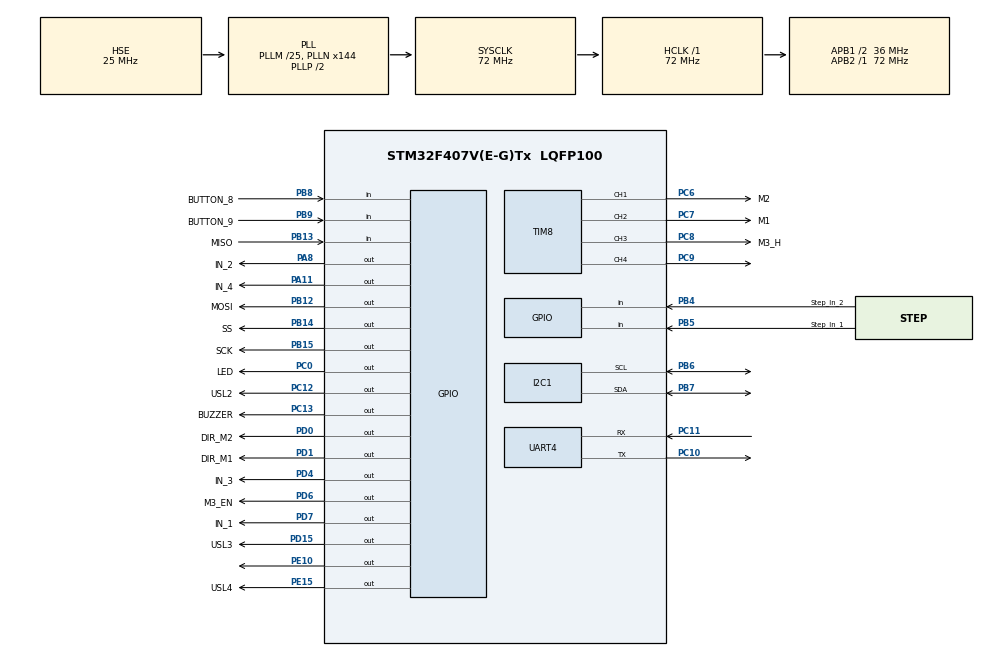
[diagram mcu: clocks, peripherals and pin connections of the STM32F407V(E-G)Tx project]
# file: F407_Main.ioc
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Mcu.Family=STM32F4
Mcu.Name=STM32F407V(E-G)Tx
Mcu.Package=LQFP100
NVIC.FPU_IRQn=true\:0\:0\:false\:false\:true\:true\:false\:true
NVIC.I2C1_ER_IRQn=true\:0\:0\:false\:false\:true\:true\:true\:true
NVIC.I2C1_EV_IRQn=true\:0\:0\:false\:false\:true\:true\:true\:true
NVIC.PriorityGroup=NVIC_PRIORITYGROUP_3
NVIC.RCC_IRQn=true\:1\:0\:true\:false\:true\:true\:false\:true
NVIC.TIM2_IRQn=true\:0\:0\:false\:false\:true\:true\:true\:true
NVIC.TIM8_BRK_TIM12_IRQn=true\:0\:0\:false\:false\:true\:true\:true\:true
NVIC.TIM8_CC_IRQn=true\:0\:0\:true\:false\:true\:true\:true\:true
NVIC.TIM8_UP_TIM13_IRQn=true\:0\:0\:true\:false\:true\:true\:true\:true
NVIC.UART4_IRQn=true\:1\:0\:true\:false\:true\:true\:true\:true
PA11.GPIO_Label=IN_4
PA11.GPIO_Speed=GPIO_SPEED_FREQ_HIGH
PA11.PinState=GPIO_PIN_SET
PA11.Signal=GPIO_Output
PA13.Mode=Serial_Wire
PA13.Signal=SYS_JTMS-SWDIO
PA14.Mode=Serial_Wire
PA14.Signal=SYS_JTCK-SWCLK
PA8.GPIO_Label=IN_2
PA8.GPIO_Speed=GPIO_SPEED_FREQ_HIGH
PA8.PinState=GPIO_PIN_SET
PA8.Signal=GPIO_Output
PB12.GPIO_Label=MOSI
PB12.GPIO_Speed=GPIO_SPEED_FREQ_VERY_HIGH
PB12.PinState=GPIO_PIN_SET
PB12.Signal=GPIO_Output
PB13.GPIO_Label=MISO
PB13.Signal=GPIO_Input
PB14.GPIO_Label=SS
PB14.GPIO_Speed=GPIO_SPEED_FREQ_VERY_HIGH
PB14.PinState=GPIO_PIN_SET
PB14.Signal=GPIO_Output
PB15.GPIO_Label=SCK
PB15.GPIO_Speed=GPIO_SPEED_FREQ_VERY_HIGH
PB15.PinState=GPIO_PIN_SET
PB15.Signal=GPIO_Output
PB4.GPIO_Label=Step_In_2
PB4.GPIO_PuPd=GPIO_PULLUP
PB4.Signal=GPIO_Input
PB5.GPIO_Label=Step_In_1
PB5.GPIO_PuPd=GPIO_PULLUP
PB5.Signal=GPIO_Input
PB6.GPIO_Pu=GPIO_NOPULL
PB6.Mode=I2C
PB6.Signal=I2C1_SCL
PB7.GPIO_Pu=GPIO_NOPULL
PB7.Mode=I2C
PB7.Signal=I2C1_SDA
PB8.GPIO_Label=BUTTON_8
PB8.Signal=GPIO_Input
PB9.GPIO_Label=BUTTON_9
PB9.Signal=GPIO_Input
PC0.GPIO_Label=LED
PC0.GPIO_ModeDefaultOutputPP=GPIO_MODE_OUTPUT_OD
PC0.GPIO_PuPd=GPIO_NOPULL
PC0.GPIO_Speed=GPIO_SPEED_FREQ_VERY_HIGH
PC0.PinState=GPIO_PIN_SET
PC0.Signal=GPIO_Output
PC10.Mode=Asynchronous
PC10.Signal=UART4_TX
PC11.Mode=Asynchronous
PC11.Signal=UART4_RX
PC12.GPIO_Label=USL2
PC12.PinState=GPIO_PIN_RESET
PC12.Signal=GPIO_Output
PC13-ANTI_TAMP.GPIO_Label=BUZZER
PC13-ANTI_TAMP.GPIO_ModeDefaultOutputPP=GPIO_MODE_OUTPUT_OD
PC13-ANTI_TAMP.GPIO_PuPd=GPIO_NOPULL
PC13-ANTI_TAMP.Signal=GPIO_Output
PC14-OSC32_IN.Mode=LSE-External-Oscillator
PC14-OSC32_IN.Signal=RCC_OSC32_IN
PC15-OSC32_OUT.Mode=LSE-External-Oscillator
PC15-OSC32_OUT.Signal=RCC_OSC32_OUT
PC6.GPIO_Label=M2
PC6.Signal=S_TIM8_CH1
PC7.GPIO_Label=M1
PC7.Signal=S_TIM8_CH2
PC8.GPIO_Label=M3_H
PC8.Signal=S_TIM8_CH3
PC9.Signal=S_TIM8_CH4
PD0.GPIO_Label=DIR_M2
PD0.Signal=GPIO_Output
PD1.GPIO_Label=DIR_M1
PD1.Signal=GPIO_Output
PD15.GPIO_Label=USL3
PD15.PinState=GPIO_PIN_RESET
PD15.Signal=GPIO_Output
PD4.GPIO_Label=IN_3
PD4.GPIO_Speed=GPIO_SPEED_FREQ_HIGH
PD4.PinState=GPIO_PIN_SET
PD4.Signal=GPIO_Output
PD6.GPIO_Label=M3_EN
PD6.GPIO_Speed=GPIO_SPEED_FREQ_MEDIUM
PD6.PinState=GPIO_PIN_SET
PD6.Signal=GPIO_Output
PD7.GPIO_Label=IN_1
PD7.GPIO_Speed=GPIO_SPEED_FREQ_HIGH
PD7.PinState=GPIO_PIN_SET
PD7.Signal=GPIO_Output
PE10.PinState=GPIO_PIN_RESET
PE10.Signal=GPIO_Output
PE15.GPIO_Label=USL4
PE15.PinState=GPIO_PIN_RESET
PE15.Signal=GPIO_Output
PH0-OSC_IN.Mode=HSE-External-Oscillator
PH0-OSC_IN.Signal=RCC_OSC_IN
PH1-OSC_OUT.Mode=HSE-External-Oscillator
PH1-OSC_OUT.Signal=RCC_OSC_OUT
ProjectManager.HeapSize=0x200
ProjectManager.StackSize=0x400
ProjectManager.TargetToolchain=Makefile
RCC.48MHZClocksFreq_Value=36000000
RCC.AHBFreq_Value=72000000
RCC.APB1CLKDivider=RCC_HCLK_DIV2
RCC.APB1Freq_Value=36000000
RCC.APB1TimFreq_Value=72000000
RCC.APB2Freq_Value=72000000
RCC.APB2TimFreq_Value=72000000
RCC.CortexFreq_Value=72000000
RCC.HCLKFreq_Value=72000000
RCC.HSE_VALUE=25000000
RCC.HSI_VALUE=16000000
RCC.PLLM=25
RCC.PLLN=144
RCC.PLLSourceVirtual=RCC_PLLSOURCE_HSE
RCC.SYSCLKFreq_VALUE=72000000
RCC.SYSCLKSource=RCC_SYSCLKSOURCE_PLLCLK
RCC.VCOOutputFreq_Value=144000000
SH.S_TIM8_CH1.0=TIM8_CH1,PWM Generation1 CH1
SH.S_TIM8_CH2.0=TIM8_CH2,PWM Generation2 CH2
SH.S_TIM8_CH3.0=TIM8_CH3,PWM Generation3 CH3
SH.S_TIM8_CH4.0=TIM8_CH4,PWM Generation4 CH4
TIM2.Period=65535
TIM2.Prescaler=72
TIM8.AutoReloadPreload=TIM_AUTORELOAD_PRELOAD_ENABLE
TIM8.Channel-PWM\ Generation1\ CH1=TIM_CHANNEL_1
TIM8.Channel-PWM\ Generation2\ CH2=TIM_CHANNEL_2
TIM8.Channel-PWM\ Generation3\ CH3=TIM_CHANNEL_3
TIM8.Channel-PWM\ Generation4\ CH4=TIM_CHANNEL_4
TIM8.OCMode_PWM-PWM\ Generation1\ CH1=TIM_OCMODE_PWM2
TIM8.OCMode_PWM-PWM\ Generation2\ CH2=TIM_OCMODE_PWM2
TIM8.OCMode_PWM-PWM\ Generation3\ CH3=TIM_OCMODE_PWM2
TIM8.OCMode_PWM-PWM\ Generation4\ CH4=TIM_OCMODE_PWM2
TIM8.OCPolarity_1=TIM_OCPOLARITY_HIGH
TIM8.OCPolarity_2=TIM_OCPOLARITY_HIGH
UART4.VirtualMode=Asynchronous
VP_TIM2_VS_ClockSourceINT.Mode=Internal
VP_TIM8_VS_ClockSourceINT.Mode=Internal
board=custom

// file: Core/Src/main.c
/* USER CODE BEGIN Header */
/**
 ******************************************************************************
 * @file           : main.c
 * @brief          : Main program body
 ******************************************************************************
 * @attention
 *
 * Copyright (c) 2023 STMicroelectronics.
 * All rights reserved.
 *
 * This software is licensed under terms that can be found in the LICENSE file
 * in the root directory of this software component.
 * If no LICENSE file comes with this software, it is provided AS-IS.
 *
 ******************************************************************************
 */
/* USER CODE END Header */
#include "main.h"
#include "i2c.h"
#include "tim.h"
#include "usart.h"
#include "gpio.h"

/* USER CODE BEGIN Includes */
#include "stdbool.h"
#include "pid.h"
#include "math.h"
#include "stdint.h"
#include "stdio.h"
#include "PS2.h"
#include "BUTTON.h"
#include "pca9685.h"

/* USER CODE END Includes */

/* USER CODE BEGIN PTD */
PID_TypeDef RPID;
HAL_StatusTypeDef status;
#define Get_Red_Delay 500
#define Get_Green_Delay 800
#define Get_Ball_Up 1
#define Get_Ball_Down 2
#define Get_Ball_Stop 0
// pca_servo_st sv;
/* USER CODE END PTD */

/* USER CODE BEGIN PV */

uint16_t PWM_Freq = 5000;
uint8_t i2c_arr[128];
uint8_t PCA_State = 0;

float Speed_Set = 40;

// variables for MPU data
uint8_t Buffer_Arr[7];
uint8_t Buffer;
bool check = 1;
float theta = 0;
float temp = 0;
uint8_t buff_index = 0;
uint8_t Reset_Angle_Byte[3] = {0xFF, 0xAA, 0x52};
uint8_t RST_ANGLE = 0;
uint8_t cw_flag = 0;
uint8_t ccw_flag = 0;
uint8_t tempspeed;

float Prev_Angle = 0;
float Angle_Raw = 0;
float Angle_Driff = 0;

uint8_t Re_Buff[11];
uint8_t Re_Buff_Index = 0;
uint8_t Re_Buff_Check = 0;

// variables for I2C
uint16_t SWERVE_DRIVE_1_ADDR = 0x08 << 1;
uint16_t SWERVE_DRIVE_2_ADDR = 0x14 << 1;
uint16_t Angle_2_Send = 0;
float temp_RX, temp_RY;
uint8_t init_check = 1;

// variables for PID
double Angle_Input, PIDOut, TempSetpoint;
uint32_t period = 0;
uint8_t Gygro_Move = 0;
// float Kp, Ki, Kd;
int8_t Out_Max, Out_Min;

// variables for joystick
float Speed = 0;
float Speed_L, Speed_R;
float gain = 0;
PS2Buttons PS2;
uint8_t Field_Control_Check = 0;
uint8_t Last_R1_Button_State = 0;
uint8_t R1_Button_State = 0;

uint8_t Rotate_90_Flag = 0;
uint8_t C_Button_Sate = 0;
uint8_t Last_C_Button_State = 0;

uint8_t Rotate_n90_Flag = 0;
uint8_t Sq_Button_Sate = 0;
uint8_t Last_Sq_Button_State = 0;

uint8_t Rotate_180_Flag = 0;
uint8_t X_Button_Sate = 0;
uint8_t Last_X_Button_State = 0;

uint8_t Get_Red_Flag = 0;
uint8_t Right_Button_State = 0;
uint8_t Last_Right_Button_State = 0;

uint8_t Get_Yellow_Flag = 0;
uint8_t Foward_Button_State = 0;
uint8_t Last_Foward_Button_State = 0;

uint8_t Get_Green_Flag = 0;
uint8_t Left_Button_State = 0;
uint8_t Last_Left_Button_State = 0;

uint8_t Get_Gift_Flag = 0;
uint8_t Select_Button_State = 0;
uint8_t Last_Select_Button_State = 0;

uint8_t Servo_Arm_P1 = 0;
uint8_t Servo_Arm_P2 = 0;
uint8_t L1_Button_State = 0;
uint8_t Last_L1_Button_State = 0;

uint8_t Up_Button_State = 0;
uint8_t Last_Up_Button_State = 0;

uint8_t Down_Button_State = 0;
uint8_t Last_Down_Button_State = 0;

uint8_t Vibration_Deg = 10;

uint8_t One_Time_Flag = 1;
/* USER CODE END PV */

void SystemClock_Config(void);

/* USER CODE BEGIN 0 */

float map(float x, float in_min, float in_max, float out_min, float out_max)
{
  return (float)((x - in_min) * (out_max - out_min) / (in_max - in_min) + out_min);
}

void Div16_To_8(int16_t data, uint8_t *data_array)
{
  *(data_array + 1) = (uint8_t)((data & 0xFF00) >> 8);
  *(data_array + 2) = (uint8_t)(data & 0x00FF);
}

void Buzzer_Beep(uint8_t times, uint8_t duration)
{
  for (uint8_t i = 0; i < times; i++)
  {
    HAL_GPIO_WritePin(BUZZER_GPIO_Port, BUZZER_Pin, GPIO_PIN_RESET);
    HAL_Delay(duration);
    HAL_GPIO_WritePin(BUZZER_GPIO_Port, BUZZER_Pin, GPIO_PIN_SET);
    HAL_Delay(duration);
  }
}

void MPU_Data_Merge()
{
  Prev_Angle = Angle_Raw;
  Angle_Raw = (float)((Re_Buff[7] << 8 | Re_Buff[6]) / 32768.0 * 180);
  if (Angle_Raw - Prev_Angle > 250)
  {
    Angle_Driff += 360;
  }
  else if (Angle_Raw - Prev_Angle < -250)
  {
    Angle_Driff -= 360;
  }
  theta = Angle_Raw - Angle_Driff;
}

// 0 to disable PWM
void Motor_PWM(uint8_t channel, uint8_t duty)
{
  period = (SystemCoreClock / 10000) - 1;
  htim8.Instance->ARR = period;

  switch (channel)
  {
  case 1:
    HAL_TIM_PWM_Start(&htim8, TIM_CHANNEL_1);
    htim8.Instance->CCR1 = (period * duty) / 100;
    break;
  case 2:
    HAL_TIM_PWM_Start(&htim8, TIM_CHANNEL_2);
    htim8.Instance->CCR2 = (period * duty) / 100;
    break;
  case 3:
    HAL_TIM_PWM_Start(&htim8, TIM_CHANNEL_3);
    htim8.Instance->CCR3 = (period * duty) / 100;
    break;
  case 4:
    HAL_TIM_PWM_Start(&htim8, TIM_CHANNEL_4);
    htim8.Instance->CCR4 = (period * duty) / 100;
    break;
  case 0:
    htim8.Instance->CCR1 = 0;
    htim8.Instance->CCR2 = 0;
    htim8.Instance->CCR3 = 0;
    break;
  }
}

void HAL_UART_RxCpltCallback(UART_HandleTypeDef *huart)
{
  UNUSED(huart);
  if (huart->Instance == UART4)
  {
    Re_Buff[Re_Buff_Index] = Buffer;
    if (Re_Buff_Index == 0 && Re_Buff[0] != 0x55)
    {
      HAL_UART_Receive_IT(&huart4, &Buffer, 1);
    }
    else
    {
      Re_Buff_Index++;
    }

    if (Re_Buff_Index == 11)
    {
      if (Re_Buff[1] == 0x53)
      {
        MPU_Data_Merge();
      }
      Re_Buff_Index = 0;
    }
    HAL_UART_Receive_IT(&huart4, &Buffer, 1);
  }
}

void Swerve_Module_Send(int16_t U12_Input, uint8_t module)
{
  uint8_t I2C_Tx_Buffer[] = {0x05, 0x00, 0x00};
  Div16_To_8(U12_Input, I2C_Tx_Buffer);
  switch (module)
  {
  case 1:
    HAL_I2C_Master_Transmit(&hi2c1, 0x01 << 1, I2C_Tx_Buffer, 3, 15);
    break;
  case 2:
    HAL_I2C_Master_Transmit(&hi2c1, 0x02 << 1, I2C_Tx_Buffer, 3, 15);
    break;
  case 0:
    HAL_I2C_Master_Transmit(&hi2c1, 0x01 << 1, I2C_Tx_Buffer, 2, 15);
    HAL_I2C_Master_Transmit(&hi2c1, 0x02 << 1, I2C_Tx_Buffer, 2, 15);
    break;
  default:
    break;
  }
}

void PID_Set(float Kp, float Ki, float Kd)
{
  PID(&RPID, &Angle_Input, &PIDOut, &TempSetpoint, Kp, Ki, Kd, _PID_P_ON_E, _PID_CD_DIRECT);
  PID_SetMode(&RPID, _PID_MODE_AUTOMATIC);
  PID_SetSampleTime(&RPID, 1);
  PID_SetOutputLimits(&RPID, -40, 40);
}

void Get_Ball(int state)
{
  switch (state)
  {
  case 2:
    HAL_GPIO_WritePin(M3_EN_GPIO_Port, M3_EN_Pin, 1);
    Motor_PWM(3, 70);
    Motor_PWM(4, 100);
    break;
  case 1:
    HAL_GPIO_WritePin(M3_EN_GPIO_Port, M3_EN_Pin, 1);
    Motor_PWM(3, 100);
    Motor_PWM(4, 70);
    break;
  case 0:
    Motor_PWM(3, 100);
    Motor_PWM(4, 100);
    HAL_GPIO_WritePin(M3_EN_GPIO_Port, M3_EN_Pin, 0);
    break;
  }
}
/* USER CODE END 0 */

int main(void)
{
  /* USER CODE END 1 */

  /* MCU Configuration--------------------------------------------------------*/

  /* Reset
  of all peripherals, Initializes the Flash interface and the Systick. */
  HAL_Init();

  /* Configure the system clock */
  SystemClock_Config();

  /* Initialize all configured peripherals */
  MX_GPIO_Init();
  MX_TIM8_Init();
  MX_UART4_Init();
  MX_I2C1_Init();
  MX_TIM2_Init();
  /* USER CODE BEGIN 2 */

  PCA9685_Init(&hi2c1);
  HAL_GPIO_WritePin(BUZZER_GPIO_Port, BUZZER_Pin, GPIO_PIN_SET);
  PS2_Init(&htim2, &PS2);

  // function to scan i2c address

  for (uint8_t i = 0; i < 128; i++)
  {
    if (HAL_I2C_IsDeviceReady(&hi2c1, (uint16_t)(i << 1), 3, 100) == HAL_OK)
    {
      i2c_arr[i] = 1;
    }
    else
    {
      i2c_arr[i] = 0;
    }
  }

  PID_Set(1.5, 0.8, 0.005);
  Angle_Input = 0;
  HAL_UART_Receive_IT(&huart4, &Buffer, 1);

  for (uint8_t i = 0; i < 5; i++)
  {
    Swerve_Module_Send(0, 0);
    HAL_Delay(10);
  }

  if (status == HAL_OK)
  {
    PCA_State = 1;
  }
  else
  {
    PCA_State = 0;
  }

  MX_TIM8_Init();
  while (init_check)
  {
    uint8_t Status_B9 = 0;
    uint8_t Status_B8 = 0;
    PS2_Update();
    Swerve_Module_Send(180, 0);
    HAL_GPIO_TogglePin(USL3_GPIO_Port, USL3_Pin);
    HAL_GPIO_TogglePin(BUZZER_GPIO_Port, BUZZER_Pin);
    HAL_Delay(500);
    Status_B9 = HAL_GPIO_ReadPin(BUTTON_9_GPIO_Port, BUTTON_9_Pin);
    Status_B8 = HAL_GPIO_ReadPin(BUTTON_8_GPIO_Port, BUTTON_8_Pin);
    while (Status_B9 == 0)
    {
      HAL_GPIO_WritePin(USL4_GPIO_Port, USL4_Pin, 1);
      Buzzer_Beep(3, 500);
      HAL_Delay(500);
      HAL_GPIO_WritePin(BUZZER_GPIO_Port, BUZZER_Pin, 1);
      for (int16_t i = 0; i >= 180; i++)
      {
        Swerve_Module_Send(i, 1);
        Swerve_Module_Send(-i, 2);
        HAL_Delay(8);
      }
      HAL_Delay(10);
      for (int16_t i = 180; i >= 0; i--)
      {
        Swerve_Module_Send(i, 1);
        Swerve_Module_Send(-i, 2);
        HAL_Delay(8);
      }
      Swerve_Module_Send(0, 0);
      HAL_Delay(10);
      for (int16_t i = 0; i >= 180; i++)
      {
        Swerve_Module_Send(i, 2);
        Swerve_Module_Send(-i, 1);
        HAL_Delay(8);
      }
      HAL_Delay(10);
      for (int16_t i = 180; i >= 0; i--)
      {
        Swerve_Module_Send(i, 2);
        Swerve_Module_Send(-i, 1);
        HAL_Delay(8);
      }
      Swerve_Module_Send(0, 0);
      Buzzer_Beep(2, 50);

      Motor_PWM(1, 15);
      Motor_PWM(2, 15);
      HAL_GPIO_WritePin(DIR_M1_GPIO_Port, DIR_M1_Pin, 1);
      HAL_GPIO_WritePin(DIR_M2_GPIO_Port, DIR_M2_Pin, 1);
      HAL_Delay(1000);
      HAL_GPIO_WritePin(DIR_M1_GPIO_Port, DIR_M1_Pin, 0);
      HAL_GPIO_WritePin(DIR_M2_GPIO_Port, DIR_M2_Pin, 0);
      HAL_Delay(1000);
      Buzzer_Beep(2, 100);
      Motor_PWM(1, 0);
      Motor_PWM(2, 0);
      Swerve_Module_Send(90, 1);
      Swerve_Module_Send(90, 2);
      HAL_Delay(1000);
      Motor_PWM(1, 15);
      Motor_PWM(2, 15);
      HAL_GPIO_WritePin(DIR_M1_GPIO_Port, DIR_M1_Pin, 1);
      HAL_GPIO_WritePin(DIR_M2_GPIO_Port, DIR_M2_Pin, 1);
      HAL_Delay(1000);
      HAL_GPIO_WritePin(DIR_M1_GPIO_Port, DIR_M1_Pin, 0);
      HAL_GPIO_WritePin(DIR_M2_GPIO_Port, DIR_M2_Pin, 0);
      HAL_Delay(1000);
      Motor_PWM(1, 0);
      Motor_PWM(2, 0);

      HAL_Delay(600);
      PCA9685_SetServoAngle(8, 115);
      PCA9685_SetServoAngle(9, 19);
      HAL_Delay(1500);
      PCA9685_SetServoAngle(8, 0);
      PCA9685_SetServoAngle(9, 150);
      PCA9685_SetServoAngle(10, 50);
      HAL_Delay(1000);
      PCA9685_SetServoAngle(10, 0);

      HAL_GPIO_WritePin(USL4_GPIO_Port, USL4_Pin, 0);
      Swerve_Module_Send(0, 2);
      Swerve_Module_Send(0, 1);
      Buzzer_Beep(5, 50);
      Status_B9 = 1;
    }

    if (Status_B8 == 0)
    {
      Speed_Set = 50;
      for (uint8_t i = 0; i < 6; i++)
      {
        HAL_GPIO_TogglePin(USL4_GPIO_Port, USL4_Pin);
        HAL_GPIO_TogglePin(BUZZER_GPIO_Port, BUZZER_Pin);
        HAL_Delay(300);
      }
      HAL_GPIO_WritePin(USL4_GPIO_Port, USL4_Pin, 1);
      HAL_GPIO_WritePin(BUZZER_GPIO_Port, BUZZER_Pin, 1);
    }

    if (PS2.L2)
    {
      init_check = 0;
      HAL_GPIO_WritePin(USL3_GPIO_Port, USL3_Pin, 0);
      HAL_UART_Transmit(&huart4, Reset_Angle_Byte, sizeof(Reset_Angle_Byte), 10);
      Buzzer_Beep(1, 100);
      break;
    }
    else
    {
      init_check = 1;
    }
  }
  Buzzer_Beep(2, 100);

  /* USER CODE END 2 */

  /* Infinite loop */
  /* USER CODE BEGIN WHILE */
  while (1)
  {
    PS2_Update();
    temp_RX = map(PS2.RX, 0, 255, -100, 100);
    Speed = map(PS2.LY, 0, 255, -Speed_Set, Speed_Set);

    L1_Button_State = PS2.L1;
    if (L1_Button_State != Last_L1_Button_State)
    {
      Last_L1_Button_State = L1_Button_State;
      if (L1_Button_State == 0)
      {
        Servo_Arm_P1 = (Servo_Arm_P1 == 1) ? 0 : 1;
      }
    }

    Up_Button_State = PS2.UP;
    if (Up_Button_State != Last_Up_Button_State)
    {
      Last_Up_Button_State = Up_Button_State;
      if (Up_Button_State == 0)
      {
        Servo_Arm_P2 = (Servo_Arm_P2 == 1) ? 0 : 1;
      }
    }

    R1_Button_State = PS2.R1;
    if (R1_Button_State != Last_R1_Button_State)
    {
      Last_R1_Button_State = R1_Button_State;
      if (R1_Button_State == 0)
      {
        Field_Control_Check = (Field_Control_Check == 1) ? 0 : 1;
      }
    }

    C_Button_Sate = PS2.CIRCLE;
    if (C_Button_Sate != Last_C_Button_State)
    {
      Last_C_Button_State = C_Button_Sate;
      if (C_Button_Sate == 0)
      {
        Rotate_90_Flag = (Rotate_90_Flag == 1) ? 0 : 1;
      }
    }

    Sq_Button_Sate = PS2.SQUARE;
    if (Sq_Button_Sate != Last_Sq_Button_State)
    {
      Last_Sq_Button_State = Sq_Button_Sate;
      if (Sq_Button_Sate == 0)
      {
        Rotate_n90_Flag = (Rotate_n90_Flag == 1) ? 0 : 1;
      }
    }

    X_Button_Sate = PS2.CROSS;
    if (X_Button_Sate != Last_X_Button_State)
    {
      Last_X_Button_State = X_Button_Sate;
      if (X_Button_Sate == 0)
      {
        Rotate_180_Flag = (Rotate_180_Flag == 1) ? 0 : 1;
      }
    }

    Right_Button_State = PS2.RIGHT;
    if (Right_Button_State != Last_Right_Button_State)
    {
      Last_Right_Button_State = Right_Button_State;
      if (Right_Button_State == 0)
      {
        Get_Red_Flag = (Get_Red_Flag == 1) ? 0 : 1;
      }
    }

    Foward_Button_State = PS2.UP;
    if (Foward_Button_State != Last_Foward_Button_State)
    {
      Last_Foward_Button_State = Foward_Button_State;
      if (Foward_Button_State == 0)
      {
        Get_Yellow_Flag = (Get_Yellow_Flag == 1) ? 0 : 1;
      }
    }

    Left_Button_State = PS2.LEFT;
    if (Left_Button_State != Last_Left_Button_State)
    {
      Last_Left_Button_State = Left_Button_State;
      if (Left_Button_State == 0)
      {
        Get_Green_Flag = (Get_Green_Flag == 1) ? 0 : 1;
      }
    }

    Select_Button_State = PS2.TRIANGLE;
    if (Select_Button_State != Last_Select_Button_State)
    {
      Last_Select_Button_State = Select_Button_State;
      if (Select_Button_State == 0)
      {
        Get_Gift_Flag = (Get_Gift_Flag == 1) ? 0 : 1;
      }
    }

    if (Servo_Arm_P1 || Servo_Arm_P2)
    {
      if (Servo_Arm_P1)
      {
        if (PS2.L2)
        {
          PCA9685_SetServoAngle(13, Vibration_Deg);
          PCA9685_SetServoAngle(11, 0);
          PCA9685_SetServoAngle(12, 180);
          if (Vibration_Deg == 10)
          {
            Vibration_Deg = 30;
          } else if (Vibration_Deg == 30)
          {
            Vibration_Deg = 10;
          }
        }
        else
        {
          PCA9685_SetServoAngle(13, 50);
          PCA9685_SetServoAngle(11, 30);
          PCA9685_SetServoAngle(12, 150);
        }
      }
      else
      {
        PCA9685_SetServoAngle(13, 135);
        PCA9685_SetServoAngle(11, 10);
        PCA9685_SetServoAngle(12, 170);
      }
    }
    else
    {
      PCA9685_SetServoAngle(13, 40);
      PCA9685_SetServoAngle(11, 110);
      PCA9685_SetServoAngle(12, 70);
    }

    // if (PS2.TRIANGLE)
    // {
    //   HAL_UART_Transmit(&huart4, Reset_Angle_Byte, sizeof(Reset_Angle_Byte), 10);
    //   Prev_Angle = 0;
    //   Angle_Raw = 0;
    //   Angle_Driff = 0;
    //   theta = 0;
    //   Buzzer_Beep(1, 100);
    //   MX_TIM8_Init();
    // }

    if (Get_Gift_Flag)
    {
      PCA9685_SetServoAngle(8, 118);
      PCA9685_SetServoAngle(9, 25);
      PCA9685_SetServoAngle(10, 150);
    }
    else
    {
      PCA9685_SetServoAngle(8, 0);
      PCA9685_SetServoAngle(9, 155);
      PCA9685_SetServoAngle(10, 0);
    }

    // if (Get_Red_Flag)
    // {
    //   Buzzer_Beep(2, 80);
    //   Swerve_Module_Send(90, 1);
    //   Swerve_Module_Send(90, 2);
    //   HAL_GPIO_WritePin(DIR_M1_GPIO_Port, DIR_M1_Pin, 0);
    //   HAL_GPIO_WritePin(DIR_M2_GPIO_Port, DIR_M2_Pin, 0);
    //   for (uint8_t i = 0; i < 50; i++)
    //   {
    //     Motor_PWM(1, i);
    //     Motor_PWM(2, i);
    //     HAL_Delay(10);
    //   }
    //   Motor_PWM(1, 50);
    //   Motor_PWM(2, 50);
    //   HAL_Delay(Get_Red_Delay);
    //   for (uint8_t i = 50; i > 0; i--)
    //   {
    //     Motor_PWM(1, i);
    //     Motor_PWM(2, i);
    //     HAL_Delay(10);
    //   }
    //   Motor_PWM(1, 0);
    //   Motor_PWM(2, 0);
    //   Buzzer_Beep(3, 40);
    //   Get_Red_Flag = 0;
    //   Field_Control_Check = 1;
    // }

    // if (Get_Green_Flag)
    // {
    //   Buzzer_Beep(3, 60);
    //   Swerve_Module_Send(70, 1);
    //   Swerve_Module_Send(70, 2);
    //   HAL_GPIO_WritePin(DIR_M1_GPIO_Port, DIR_M1_Pin, 0);
    //   HAL_GPIO_WritePin(DIR_M2_GPIO_Port, DIR_M2_Pin, 0);
    //   for (uint8_t i = 0; i < 50; i++)
    //   {
    //     Motor_PWM(1, i);
    //     Motor_PWM(2, i);
    //     HAL_Delay(10);
    //   }
    //   Motor_PWM(1, 50);
    //   Motor_PWM(2, 50);
    //   HAL_Delay(Get_Green_Delay);
    //   for (uint8_t i = 50; i > 0; i--)
    //   {
    //     Motor_PWM(1, i);
    //     Motor_PWM(2, i);
    //     HAL_Delay(10);
    //   }
    //   Motor_PWM(1, 0);
    //   Motor_PWM(2, 0);
    //   Buzzer_Beep(3, 40);
    //   Get_Green_Flag = 0;
    //   Field_Control_Check = 1;
    // }

    while (Rotate_90_Flag)
    {
      Swerve_Module_Send(90, 1);
      Swerve_Module_Send(-90, 2);
      while (One_Time_Flag)
      {
        HAL_UART_Transmit(&huart4, Reset_Angle_Byte, sizeof(Reset_Angle_Byte), 10);
        HAL_UART_Transmit(&huart4, Reset_Angle_Byte, sizeof(Reset_Angle_Byte), 10);
        Prev_Angle = 0;
        Angle_Raw = 0;
        Angle_Driff = 0;
        theta = 0;
        TempSetpoint = -80;
        MX_TIM8_Init();
        One_Time_Flag = 0;
      }
      Angle_Input = (double)theta;
      PID_Compute(&RPID);
      if (PIDOut > 0)
      {
        HAL_GPIO_WritePin(DIR_M1_GPIO_Port, DIR_M1_Pin, 0);
        HAL_GPIO_WritePin(DIR_M2_GPIO_Port, DIR_M2_Pin, 0);
      }
      else
      {
        HAL_GPIO_WritePin(DIR_M1_GPIO_Port, DIR_M1_Pin, 1);
        HAL_GPIO_WritePin(DIR_M2_GPIO_Port, DIR_M2_Pin, 1);
        PIDOut = -PIDOut;
      }
      Motor_PWM(1, (uint8_t)(PIDOut));
      Motor_PWM(2, (uint8_t)(PIDOut));
      if (fabs(TempSetpoint - theta) < 1)
      {
        Prev_Angle = 0;
        Angle_Raw = 0;
        Angle_Driff = 0;
        theta = 0;
        HAL_UART_Transmit(&huart4, Reset_Angle_Byte, sizeof(Reset_Angle_Byte), 10);
        HAL_UART_Transmit(&huart4, Reset_Angle_Byte, sizeof(Reset_Angle_Byte), 10);
        MX_TIM8_Init();
        Motor_PWM(1, 0);
        Motor_PWM(2, 0);
        Rotate_90_Flag = 0;
        break;
      }
    }

    while (Rotate_n90_Flag)
    {
      Swerve_Module_Send(90, 1);
      Swerve_Module_Send(-90, 2);
      while (One_Time_Flag)
      {
        HAL_UART_Transmit(&huart4, Reset_Angle_Byte, sizeof(Reset_Angle_Byte), 10);
        HAL_UART_Transmit(&huart4, Reset_Angle_Byte, sizeof(Reset_Angle_Byte), 10);
        Prev_Angle = 0;
        Angle_Raw = 0;
        Angle_Driff = 0;
        theta = 0;
        TempSetpoint = 80;
        MX_TIM8_Init();
        One_Time_Flag = 0;
      }
      Angle_Input = (double)theta;
      PID_Compute(&RPID);
      if (PIDOut > 0)
      {
        HAL_GPIO_WritePin(DIR_M1_GPIO_Port, DIR_M1_Pin, 0);
        HAL_GPIO_WritePin(DIR_M2_GPIO_Port, DIR_M2_Pin, 0);
      }
      else
      {
        HAL_GPIO_WritePin(DIR_M1_GPIO_Port, DIR_M1_Pin, 1);
        HAL_GPIO_WritePin(DIR_M2_GPIO_Port, DIR_M2_Pin, 1);
        PIDOut = -PIDOut;
      }
      Motor_PWM(1, (uint8_t)(PIDOut));
      Motor_PWM(2, (uint8_t)(PIDOut));
      if (fabs(TempSetpoint - theta) < 1)
      {
        Prev_Angle = 0;
        Angle_Raw = 0;
        Angle_Driff = 0;
        theta = 0;
        HAL_UART_Transmit(&huart4, Reset_Angle_Byte, sizeof(Reset_Angle_Byte), 10);
        HAL_UART_Transmit(&huart4, Reset_Angle_Byte, sizeof(Reset_Angle_Byte), 10);
        MX_TIM8_Init();
        Motor_PWM(1, 0);
        Motor_PWM(2, 0);
        Rotate_n90_Flag = 0;
        break;
      }
    }

    while (Rotate_180_Flag)
    {
      Swerve_Module_Send(90, 1);
      Swerve_Module_Send(-90, 2);
      while (One_Time_Flag)
      {
        HAL_UART_Transmit(&huart4, Reset_Angle_Byte, sizeof(Reset_Angle_Byte), 10);
        HAL_UART_Transmit(&huart4, Reset_Angle_Byte, sizeof(Reset_Angle_Byte), 10);
        Prev_Angle = 0;
        Angle_Raw = 0;
        Angle_Driff = 0;
        theta = 0;
        TempSetpoint = 155;
        MX_TIM8_Init();
        One_Time_Flag = 0;
      }
      Angle_Input = (double)theta;
      PID_Compute(&RPID);
      if (PIDOut > 0)
      {
        HAL_GPIO_WritePin(DIR_M1_GPIO_Port, DIR_M1_Pin, 0);
        HAL_GPIO_WritePin(DIR_M2_GPIO_Port, DIR_M2_Pin, 0);
      }
      else
      {
        HAL_GPIO_WritePin(DIR_M1_GPIO_Port, DIR_M1_Pin, 1);
        HAL_GPIO_WritePin(DIR_M2_GPIO_Port, DIR_M2_Pin, 1);
        PIDOut = -PIDOut;
      }
      Motor_PWM(1, (uint8_t)(PIDOut));
      Motor_PWM(2, (uint8_t)(PIDOut));
      if (fabs(TempSetpoint - theta) < 1)
      {
        Prev_Angle = 0;
        Angle_Raw = 0;
        Angle_Driff = 0;
        theta = 0;
        HAL_UART_Transmit(&huart4, Reset_Angle_Byte, sizeof(Reset_Angle_Byte), 10);
        HAL_UART_Transmit(&huart4, Reset_Angle_Byte, sizeof(Reset_Angle_Byte), 10);
        MX_TIM8_Init();
        Motor_PWM(1, 0);
        Motor_PWM(2, 0);
        Rotate_180_Flag = 0;
        break;
      }
    }

    if (PS2.R2)
    {
      Speed = map(PS2.LY, 0, 255, -95, 95);
    }

    if (Speed > 0)
    {
      HAL_GPIO_WritePin(DIR_M1_GPIO_Port, DIR_M1_Pin, 1);
      HAL_GPIO_WritePin(DIR_M2_GPIO_Port, DIR_M2_Pin, 1);
    }
    else
    {
      HAL_GPIO_WritePin(DIR_M1_GPIO_Port, DIR_M1_Pin, 0);
      HAL_GPIO_WritePin(DIR_M2_GPIO_Port, DIR_M2_Pin, 0);
      Speed = -Speed;
    }

    if (Field_Control_Check)
    {
      gain = map(temp_RX, -100, 100, -90, 90);
      gain = gain + 90;
      Swerve_Module_Send(gain, 1);
      Swerve_Module_Send(gain, 2);
      Speed = map(PS2.LY, 0, 255, -30, 30);
      // if (gain > 0)
      // {
      //   Motor_PWM(2, (uint8_t)(Speed));
      //   Motor_PWM(1, (uint8_t)(Speed));
      // }
      // else if (gain < 0)
      // {
      //   Motor_PWM(1, (uint8_t)(Speed));
      //   Motor_PWM(2, (uint8_t)(Speed));
      // }
    }
    else
    {
      Swerve_Module_Send((int16_t)roundf(map(temp_RX, -100, 100, 90.0, -90.0)), 1);
      Swerve_Module_Send((int16_t)roundf(map(temp_RX, -100, 100, -90.0, 90.0)), 2);
    }
    Motor_PWM(1, (uint8_t)fabs(Speed));
    Motor_PWM(2, (uint8_t)fabs(Speed));
    One_Time_Flag = 1;
    HAL_Delay(7);
    /* USER CODE END WHILE */

  }
}

void SystemClock_Config(void)
{
  RCC_OscInitTypeDef RCC_OscInitStruct = {0};
  RCC_ClkInitTypeDef RCC_ClkInitStruct = {0};

  /** Configure the main internal regulator output voltage
   */
  __HAL_RCC_PWR_CLK_ENABLE();
  __HAL_PWR_VOLTAGESCALING_CONFIG(PWR_REGULATOR_VOLTAGE_SCALE1);

  /** Initializes the RCC Oscillators according to the specified parameters
   * in the RCC_OscInitTypeDef structure.
   */
  RCC_OscInitStruct.OscillatorType = RCC_OSCILLATORTYPE_HSE;
  RCC_OscInitStruct.HSEState = RCC_HSE_ON;
  RCC_OscInitStruct.PLL.PLLState = RCC_PLL_ON;
  RCC_OscInitStruct.PLL.PLLSource = RCC_PLLSOURCE_HSE;
  RCC_OscInitStruct.PLL.PLLM = 25;
  RCC_OscInitStruct.PLL.PLLN = 144;
  RCC_OscInitStruct.PLL.PLLP = RCC_PLLP_DIV2;
  RCC_OscInitStruct.PLL.PLLQ = 4;
  if (HAL_RCC_OscConfig(&RCC_OscInitStruct) != HAL_OK)
  {
    Error_Handler();
  }

  /** Initializes the CPU, AHB and APB buses clocks
   */
  RCC_ClkInitStruct.ClockType = RCC_CLOCKTYPE_HCLK | RCC_CLOCKTYPE_SYSCLK | RCC_CLOCKTYPE_PCLK1 | RCC_CLOCKTYPE_PCLK2;
  RCC_ClkInitStruct.SYSCLKSource = RCC_SYSCLKSOURCE_PLLCLK;
  RCC_ClkInitStruct.AHBCLKDivider = RCC_SYSCLK_DIV1;
  RCC_ClkInitStruct.APB1CLKDivider = RCC_HCLK_DIV2;
  RCC_ClkInitStruct.APB2CLKDivider = RCC_HCLK_DIV1;

  if (HAL_RCC_ClockConfig(&RCC_ClkInitStruct, FLASH_LATENCY_2) != HAL_OK)
  {
    Error_Handler();
  }
}

void Error_Handler(void)
{
  __disable_irq();
  while (1)
  {
  }
}
